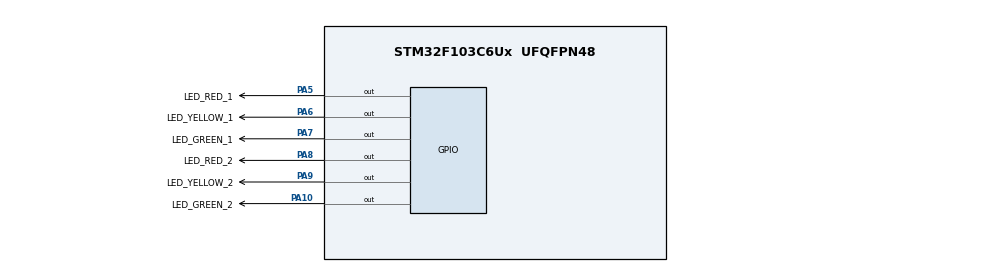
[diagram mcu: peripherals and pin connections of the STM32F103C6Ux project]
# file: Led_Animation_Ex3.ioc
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Mcu.Family=STM32F1
Mcu.Name=STM32F103C6Ux
Mcu.Package=UFQFPN48
NVIC.PriorityGroup=NVIC_PRIORITYGROUP_4
PA10.GPIO_Label=LED_GREEN_2
PA10.Signal=GPIO_Output
PA13.Mode=Serial_Wire
PA13.Signal=SYS_JTMS-SWDIO
PA14.Mode=Serial_Wire
PA14.Signal=SYS_JTCK-SWCLK
PA5.GPIO_Label=LED_RED_1
PA5.Signal=GPIO_Output
PA6.GPIO_Label=LED_YELLOW_1
PA6.Signal=GPIO_Output
PA7.GPIO_Label=LED_GREEN_1
PA7.Signal=GPIO_Output
PA8.GPIO_Label=LED_RED_2
PA8.Signal=GPIO_Output
PA9.GPIO_Label=LED_YELLOW_2
PA9.Signal=GPIO_Output
PD0-OSC_IN.Mode=HSE-External-Oscillator
PD0-OSC_IN.Signal=RCC_OSC_IN
PD1-OSC_OUT.Mode=HSE-External-Oscillator
PD1-OSC_OUT.Signal=RCC_OSC_OUT
ProjectManager.HeapSize=0x200
ProjectManager.StackSize=0x400
ProjectManager.TargetToolchain=STM32CubeIDE
RCC.APB1Freq_Value=8000000
RCC.APB2Freq_Value=8000000
board=custom

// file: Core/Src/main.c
/* USER CODE BEGIN Header */
/**
  ******************************************************************************
  * @file           : main.c
  * @brief          : Main program body
  ******************************************************************************
  * @attention
  *
  * <h2><center>&copy; Copyright (c) 2025 STMicroelectronics.
  * All rights reserved.</center></h2>
  *
  * This software component is licensed by ST under BSD 3-Clause license,
  * the "License"; You may not use this file except in compliance with the
  * License. You may obtain a copy of the License at:
  *                        opensource.org/licenses/BSD-3-Clause
  *
  ******************************************************************************
  */
/* USER CODE END Header */
#include "main.h"

/* USER CODE BEGIN PV */
uint16_t counter1 = 0;
uint16_t counter2 = 0;

uint8_t state1 = 0;
uint8_t state2 = 0;
/* USER CODE END PV */

void SystemClock_Config(void);
static void MX_GPIO_Init(void);

int main(void)
{

  /* MCU Configuration--------------------------------------------------------*/

  /* Reset of all peripherals, Initializes the Flash interface and the Systick. */
  HAL_Init();

  /* Configure the system clock */
  SystemClock_Config();

  /* Initialize all configured peripherals */
  MX_GPIO_Init();

  /* Infinite loop */
  /* USER CODE BEGIN WHILE */
  while (1)
  {
	  	  // Implement Cycle of LED
	  	  if(counter1 <= 0 && state1 == 0){
	  		  HAL_GPIO_WritePin(GPIOA, LED_RED_1_Pin, GPIO_PIN_RESET);
	  		  HAL_GPIO_WritePin(GPIOA, LED_YELLOW_1_Pin, GPIO_PIN_SET);
	  		  HAL_GPIO_WritePin(GPIOA, LED_GREEN_1_Pin, GPIO_PIN_SET);
	  		  counter1 = 500;
	  		  state1 = 1;
	  	  }
	  	  if(counter1 <= 0 && state1 == 1){
	  		  HAL_GPIO_WritePin(GPIOA, LED_GREEN_1_Pin, GPIO_PIN_RESET);
	  		  HAL_GPIO_WritePin(GPIOA, LED_YELLOW_1_Pin, GPIO_PIN_SET);
	  		  HAL_GPIO_WritePin(GPIOA, LED_RED_1_Pin, GPIO_PIN_SET);
	  		  counter1 = 300;
	  		  state1 = 2;
	  	  }
	  	  if(counter1 <= 0 && state1 == 2){
	  		  HAL_GPIO_WritePin(GPIOA, LED_YELLOW_1_Pin, GPIO_PIN_RESET);
	  		  HAL_GPIO_WritePin(GPIOA, LED_GREEN_1_Pin, GPIO_PIN_SET);
	  		  HAL_GPIO_WritePin(GPIOA, LED_RED_1_Pin, GPIO_PIN_SET);
	  		  counter1 = 200;
	  		  state1 = 0;
	  	  }

	  	  if(counter2 <= 0 && state2 == 2){
	  		  HAL_GPIO_WritePin(GPIOA, LED_RED_2_Pin, GPIO_PIN_RESET);
	  		  HAL_GPIO_WritePin(GPIOA, LED_YELLOW_2_Pin, GPIO_PIN_SET);
	  		  HAL_GPIO_WritePin(GPIOA, LED_GREEN_2_Pin, GPIO_PIN_SET);
	  		  counter2 = 500;
	  		  state2 = 0;
	  		 }
	  	  if(counter2 <= 0 && state2 == 0){
	  		  HAL_GPIO_WritePin(GPIOA, LED_GREEN_2_Pin, GPIO_PIN_RESET);
	  		  HAL_GPIO_WritePin(GPIOA, LED_YELLOW_2_Pin, GPIO_PIN_SET);
	  		  HAL_GPIO_WritePin(GPIOA, LED_RED_2_Pin, GPIO_PIN_SET);
	  		  counter2 = 300;
	  		  state2 = 1;
	  	  }
	  	  if(counter2 <= 0 && state2 == 1){
	  		  HAL_GPIO_WritePin(GPIOA, LED_YELLOW_2_Pin, GPIO_PIN_RESET);
	  		  HAL_GPIO_WritePin(GPIOA, LED_GREEN_2_Pin, GPIO_PIN_SET);
	  		  HAL_GPIO_WritePin(GPIOA, LED_RED_2_Pin, GPIO_PIN_SET);
	  		  counter2 = 200;
	  		  state2 = 2;
	  	  }

	  	  // Implement Timer
	  	  HAL_Delay(10);
	  	  --counter1;
	  	  --counter2;

    /* USER CODE END WHILE */

  }
}

void SystemClock_Config(void)
{
  RCC_OscInitTypeDef RCC_OscInitStruct = {0};
  RCC_ClkInitTypeDef RCC_ClkInitStruct = {0};

  /** Initializes the RCC Oscillators according to the specified parameters
  * in the RCC_OscInitTypeDef structure.
  */
  RCC_OscInitStruct.OscillatorType = RCC_OSCILLATORTYPE_HSI;
  RCC_OscInitStruct.HSIState = RCC_HSI_ON;
  RCC_OscInitStruct.HSICalibrationValue = RCC_HSICALIBRATION_DEFAULT;
  RCC_OscInitStruct.PLL.PLLState = RCC_PLL_NONE;
  if (HAL_RCC_OscConfig(&RCC_OscInitStruct) != HAL_OK)
  {
    Error_Handler();
  }
  /** Initializes the CPU, AHB and APB buses clocks
  */
  RCC_ClkInitStruct.ClockType = RCC_CLOCKTYPE_HCLK|RCC_CLOCKTYPE_SYSCLK
                              |RCC_CLOCKTYPE_PCLK1|RCC_CLOCKTYPE_PCLK2;
  RCC_ClkInitStruct.SYSCLKSource = RCC_SYSCLKSOURCE_HSI;
  RCC_ClkInitStruct.AHBCLKDivider = RCC_SYSCLK_DIV1;
  RCC_ClkInitStruct.APB1CLKDivider = RCC_HCLK_DIV1;
  RCC_ClkInitStruct.APB2CLKDivider = RCC_HCLK_DIV1;

  if (HAL_RCC_ClockConfig(&RCC_ClkInitStruct, FLASH_LATENCY_0) != HAL_OK)
  {
    Error_Handler();
  }
}

static void MX_GPIO_Init(void)
{
  GPIO_InitTypeDef GPIO_InitStruct = {0};

  /* GPIO Ports Clock Enable */
  __HAL_RCC_GPIOD_CLK_ENABLE();
  __HAL_RCC_GPIOA_CLK_ENABLE();

  /*Configure GPIO pin Output Level */
  HAL_GPIO_WritePin(GPIOA, LED_RED_1_Pin|LED_YELLOW_1_Pin|LED_GREEN_1_Pin|LED_RED_2_Pin
                          |LED_YELLOW_2_Pin|LED_GREEN_2_Pin, GPIO_PIN_RESET);

  /*Configure GPIO pins : LED_RED_1_Pin LED_YELLOW_1_Pin LED_GREEN_1_Pin LED_RED_2_Pin
                           LED_YELLOW_2_Pin LED_GREEN_2_Pin */
  GPIO_InitStruct.Pin = LED_RED_1_Pin|LED_YELLOW_1_Pin|LED_GREEN_1_Pin|LED_RED_2_Pin
                          |LED_YELLOW_2_Pin|LED_GREEN_2_Pin;
  GPIO_InitStruct.Mode = GPIO_MODE_OUTPUT_PP;
  GPIO_InitStruct.Pull = GPIO_NOPULL;
  GPIO_InitStruct.Speed = GPIO_SPEED_FREQ_LOW;
  HAL_GPIO_Init(GPIOA, &GPIO_InitStruct);

}

void Error_Handler(void)
{
  __disable_irq();
  while (1)
  {
  }
}

/************************ (C) COPYRIGHT STMicroelectronics *****END OF FILE****/
